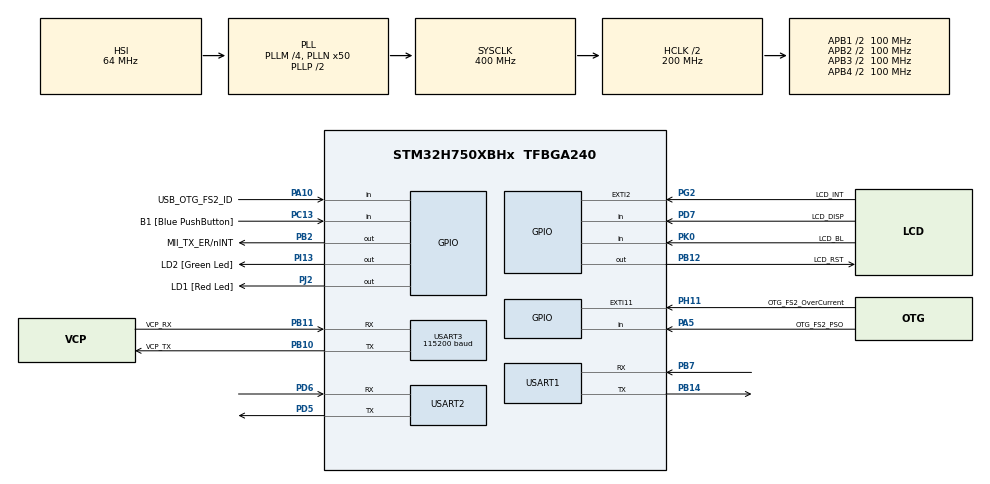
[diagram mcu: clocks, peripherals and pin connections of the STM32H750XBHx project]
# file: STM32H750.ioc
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FREERTOS.Tasks01=defaultTask,24,128,StartDefaultTask,Default,NULL,Dynamic,NULL,NULL
FREERTOS.configUSE_NEWLIB_REENTRANT=0
Mcu.Family=STM32H7
Mcu.Name=STM32H750XBHx
Mcu.Package=TFBGA240
NVIC.PriorityGroup=NVIC_PRIORITYGROUP_4
NVIC.TIM1_UP_IRQn=true\:15\:0\:false\:false\:true\:false\:false\:true\:true
NVIC.TIM2_IRQn=true\:5\:0\:false\:false\:true\:true\:true\:true\:true
NVIC.TimeBase=TIM1_UP_IRQn
NVIC.TimeBaseIP=TIM1
NVIC.USART2_IRQn=true\:5\:0\:false\:false\:true\:true\:true\:true\:true
NVIC.USART3_IRQn=true\:5\:0\:false\:false\:true\:true\:true\:true\:true
PA0_C.Signal=ADCx_INP0
PA1.GPIO_Label=MII_RX_CLK
PA1.Signal=ETH_RX_CLK
PA10.GPIO_Label=USB_OTG_FS2_ID
PA10.Signal=GPIO_Input
PA11.GPIO_Label=USB_OTG_FS2_N
PA11.Signal=USB_OTG_FS_DM
PA12.GPIO_Label=USB_OTG_FS2_P
PA12.Signal=USB_OTG_FS_DP
PA13\ (JTMS/SWDIO).Mode=JTAG_4_pins
PA13\ (JTMS/SWDIO).Signal=DEBUG_JTMS-SWDIO
PA14\ (JTCK/SWCLK).Mode=JTAG_4_pins
PA14\ (JTCK/SWCLK).Signal=DEBUG_JTCK-SWCLK
PA15\ (JTDI).Mode=JTAG_4_pins
PA15\ (JTDI).Signal=DEBUG_JTDI
PA1_C.Signal=ADCx_INP1
PA2.GPIO_Label=MII_MDIO
PA2.Signal=ETH_MDIO
PA5.GPIO_Label=OTG_FS2_PSO
PA5.Signal=GPIO_Input
PA6.Signal=S_TIM13_CH1
PA7.GPIO_Label=MII_RX_DV
PA7.Signal=ETH_RX_DV
PA8.Signal=S_TIM1_CH1
PA9.GPIO_Label=VBUS_FS2
PA9.Signal=USB_OTG_FS_VBUS
PB0.GPIO_Label=MII_RX_D2
PB0.Signal=ETH_RXD2
PB1.GPIO_Label=MII_RX_D3
PB1.Signal=ETH_RXD3
PB10.GPIO_Label=VCP_TX
PB10.Mode=Asynchronous
PB10.Signal=USART3_TX
PB11.GPIO_Label=VCP_RX
PB11.Mode=Asynchronous
PB11.Signal=USART3_RX
PB12.GPIO_Label=LCD_RST
PB12.Signal=GPIO_Output
PB13.GPIO_Label=FDCAN2_TX
PB13.Signal=FDCAN2_TX
PB14.Mode=Asynchronous
PB14.Signal=USART1_TX
PB15.Signal=SPI2_MOSI
PB2.GPIO_Label=MII_TX_ER/nINT
PB2.Signal=GPIO_Output
PB3\ (JTDO/TRACESWO).Mode=JTAG_4_pins
PB3\ (JTDO/TRACESWO).Signal=DEBUG_JTDO-SWO
PB4\ (NJTRST).Signal=SPI2_NSS
PB5.GPIO_Label=FDCAN2_RX
PB5.Signal=FDCAN2_RX
PB6.Signal=QUADSPI_BK1_NCS
PB7.Mode=Asynchronous
PB7.Signal=USART1_RX
PB8.GPIO_Label=SDIO1_D4
PB8.Signal=SDMMC1_D4
PB9.GPIO_Label=SDIO1_D5
PB9.Signal=SDMMC1_D5
PC0.Signal=ADCx_INP10
PC1.GPIO_Label=MII_MDC
PC1.Signal=ETH_MDC
PC10.GPIO_Label=SDIO1_D2
PC10.Signal=SDMMC1_D2
PC11.GPIO_Label=SDIO1_D3
PC11.Signal=SDMMC1_D3
PC12.GPIO_Label=SDIO1_CK
PC12.Signal=SDMMC1_CK
PC13.GPIO_Label=B1 [Blue PushButton]
PC13.Signal=GPIO_Input
PC14-OSC32_IN\ (OSC32_IN).GPIO_Label=OSC32_IN
PC14-OSC32_IN\ (OSC32_IN).Mode=LSE-External-Oscillator
PC14-OSC32_IN\ (OSC32_IN).Signal=RCC_OSC32_IN
PC15-OSC32_OUT\ (OSC32_OUT).GPIO_Label=OSC32_OUT
PC15-OSC32_OUT\ (OSC32_OUT).Mode=LSE-External-Oscillator
PC15-OSC32_OUT\ (OSC32_OUT).Signal=RCC_OSC32_OUT
PC2.GPIO_Label=MII_TXD2
PC2.Signal=ETH_TXD2
PC2_C.Signal=SharedAnalog_PC2
PC3.GPIO_Label=MII_TX_CLK
PC3.Signal=ETH_TX_CLK
PC3_C.Signal=ADC3_INP1
PC4.GPIO_Label=MII_RXD0
PC4.Signal=ETH_RXD0
PC5.GPIO_Label=MII_RXD1
PC5.Signal=ETH_RXD1
PC6.GPIO_Label=SDIO1_D6
PC6.Signal=SDMMC1_D6
PC7.GPIO_Label=SDIO1_D7
PC7.Signal=SDMMC1_D7
PC8.GPIO_Label=SDIO1_D0
PC8.Signal=SDMMC1_D0
PC9.GPIO_Label=SDIO1_D1
PC9.Signal=SDMMC1_D1
PD0.Signal=FMC_D2_DA2
PD1.Signal=FMC_D3_DA3
PD10.Signal=FMC_D15_DA15
PD11.Signal=QUADSPI_BK1_IO0
PD14.Signal=FMC_D0_DA0
PD15.Signal=FMC_D1_DA1
PD2.GPIO_Label=SDIO1_CMD
PD2.Signal=SDMMC1_CMD
PD3.Signal=SPI2_SCK
PD5.Mode=Asynchronous
PD5.Signal=USART2_TX
PD6.Mode=Asynchronous
PD6.Signal=USART2_RX
PD7.GPIO_Label=LCD_DISP
PD7.Signal=GPIO_Input
PD8.Signal=FMC_D13_DA13
PD9.Signal=FMC_D14_DA14
PE0.Signal=FMC_NBL0
PE1.Signal=FMC_NBL1
PE10.Signal=FMC_D7_DA7
PE11.Signal=FMC_D8_DA8
PE12.Signal=FMC_D9_DA9
PE13.Signal=FMC_D10_DA10
PE14.Signal=FMC_D11_DA11
PE15.Signal=FMC_D12_DA12
PE2.GPIO_Label=MII_TXD3
PE2.Signal=ETH_TXD3
PE4.Signal=SAI4_D2
PE5.Signal=SAI4_CK2
PE7.Signal=FMC_D4_DA4
PE8.Signal=FMC_D5_DA5
PE9.Signal=FMC_D6_DA6
PF0.Signal=FMC_A0
PF1.Signal=FMC_A1
PF10.Signal=QUADSPI_CLK
PF11.Signal=FMC_SDNRAS
PF12.Signal=FMC_A6
PF13.Signal=FMC_A7
PF14.Signal=FMC_A8
PF15.Signal=FMC_A9
PF2.Signal=FMC_A2
PF3.Signal=FMC_A3
PF4.Signal=FMC_A4
PF5.Signal=FMC_A5
PF6.Signal=QUADSPI_BK1_IO3
PF7.Signal=QUADSPI_BK1_IO2
PF8.Signal=ADC3_INP7
PF9.Signal=QUADSPI_BK1_IO1
PG0.Signal=FMC_A10
PG1.Signal=FMC_A11
PG10.Signal=SAI2_SD_B
PG11.GPIO_Label=MII_TX_EN
PG11.Signal=ETH_TX_EN
PG12.GPIO_Label=MII_TXD1
PG12.Signal=ETH_TXD1
PG13.GPIO_Label=MII_TXD0
PG13.Signal=ETH_TXD0
PG15.Signal=FMC_SDNCAS
PG2.GPIO_Label=LCD_INT
PG2.Signal=GPXTI2
PG4.Signal=FMC_A14_BA0
PG5.Signal=FMC_A15_BA1
PG7.GPIO_Label=audio_Int
PG7.Signal=SAI1_MCLK_A
PG8.Signal=FMC_SDCLK
PH0-OSC_IN\ (PH0).GPIO_Label=OSC_IN
PH0-OSC_IN\ (PH0).Signal=RCC_OSC_IN
PH1-OSC_OUT\ (PH1).GPIO_Label=OSC_OUT
PH1-OSC_OUT\ (PH1).Signal=RCC_OSC_OUT
PH11.GPIO_Label=OTG_FS2_OverCurrent
PH11.Signal=GPXTI11
PH13.GPIO_Label=FDCAN1_TX
PH13.Signal=FDCAN1_TX
PH14.GPIO_Label=FDCAN1_RX
PH14.Signal=FDCAN1_RX
PH15.Signal=TIM8_CH3N
PH2.GPIO_Label=MII_CRS
PH2.Signal=ETH_CRS
PH3.GPIO_Label=MII_COL
PH3.Signal=ETH_COL
PH5.Signal=FMC_SDNWE
PH6.Signal=FMC_SDNE1
PH7.Signal=FMC_SDCKE1
PH9.Signal=LTDC_R3
PI0.Signal=LTDC_G5
PI1.Signal=LTDC_G6
PI10.GPIO_Label=MII_RX_ER
PI10.Signal=ETH_RX_ER
PI12.Signal=LTDC_HSYNC
PI13.GPIO_Label=LD2 [Green Led]
PI13.Signal=GPIO_Output
PI14.Signal=LTDC_CLK
PI15.Signal=LTDC_R0
PI2.Signal=SPI2_MISO
PI4.Signal=SAI2_MCLK_A
PI5.Signal=SAI2_SCK_A
PI6.Signal=SAI2_SD_A
PI7.Signal=SAI2_FS_A
PI9.Signal=LTDC_VSYNC
PJ0.Signal=LTDC_R1
PJ1.Signal=LTDC_R2
PJ10.Signal=LTDC_G3
PJ11.Signal=LTDC_G4
PJ12.Signal=LTDC_B0
PJ13.Signal=LTDC_B1
PJ14.Signal=LTDC_B2
PJ15.GPIO_Label=LCD_DISP
PJ15.Signal=LTDC_B3
PJ2.GPIO_Label=LD1 [Red Led]
PJ2.Signal=GPIO_Output
PJ3.Signal=LTDC_R4
PJ4.Signal=LTDC_R5
PJ5.Signal=LTDC_R6
PJ6.Signal=LTDC_R7
PJ7.Signal=LTDC_G0
PJ8.Signal=LTDC_G1
PJ9.Signal=LTDC_G2
PK0.GPIO_Label=LCD_BL
PK0.Signal=GPIO_Input
PK2.Signal=LTDC_G7
PK3.Signal=LTDC_B4
PK4.Signal=LTDC_B5
PK5.Signal=LTDC_B6
PK6.Signal=LTDC_B7
PK7.Signal=LTDC_DE
ProjectManager.HeapSize=0x200
ProjectManager.StackSize=0x400
ProjectManager.TargetToolchain=CMake
RCC.ADCFreq_Value=76800000
RCC.APB1Freq_Value=100000000
RCC.APB2Freq_Value=100000000
RCC.APB3Freq_Value=100000000
RCC.APB4Freq_Value=100000000
RCC.CortexFreq_Value=400000000
RCC.D1PPRE=RCC_APB3_DIV2
RCC.D2PPRE1=RCC_APB1_DIV2
RCC.D2PPRE2=RCC_APB2_DIV2
RCC.D3PPRE=RCC_APB4_DIV2
RCC.DIVM1=4
RCC.DIVM2=2
RCC.DIVN1=50
RCC.DIVN2=12
RCC.DIVN3=192
RCC.DIVP2=5
RCC.DIVQ1=4
RCC.DIVR1=6
RCC.HCLKFreq_Value=200000000
RCC.HPRE=RCC_HCLK_DIV2
RCC.PLL2FRACN=0
RCC.PLL3FRACN=0
RCC.PLLFRACN=0
RCC.PWR_Regulator_Voltage_Scale=PWR_REGULATOR_VOLTAGE_SCALE0
RCC.RCC_TIM_PRescaler_Selection=RCC_TIMPRES_DESACTIVATED
RCC.SYSCLKFreq_VALUE=400000000
RCC.SYSCLKSource=RCC_SYSCLKSOURCE_PLLCLK
RCC.SupplySource=PWR_LDO_SUPPLY
RCC.USBFreq_Value=200000000
SH.ADCx_INP0.0=ADC1_INP0
SH.ADCx_INP0.1=ADC2_INP0
SH.ADCx_INP1.0=ADC1_INP1
SH.ADCx_INP1.1=ADC2_INP1
SH.ADCx_INP10.0=ADC1_INP10
SH.ADCx_INP10.1=ADC3_INP10
SH.FMC_A0.0=FMC_A0
SH.FMC_A1.0=FMC_A1
SH.FMC_A10.0=FMC_A10
SH.FMC_A11.0=FMC_A11
SH.FMC_A14_BA0.0=FMC_BA0
SH.FMC_A15_BA1.0=FMC_BA1
SH.FMC_A2.0=FMC_A2
SH.FMC_A3.0=FMC_A3
SH.FMC_A4.0=FMC_A4
SH.FMC_A5.0=FMC_A5
SH.FMC_A6.0=FMC_A6
SH.FMC_A7.0=FMC_A7
SH.FMC_A8.0=FMC_A8
SH.FMC_A9.0=FMC_A9
SH.FMC_D0_DA0.0=FMC_D0
SH.FMC_D10_DA10.0=FMC_D10
SH.FMC_D11_DA11.0=FMC_D11
SH.FMC_D12_DA12.0=FMC_D12
SH.FMC_D13_DA13.0=FMC_D13
SH.FMC_D14_DA14.0=FMC_D14
SH.FMC_D15_DA15.0=FMC_D15
SH.FMC_D1_DA1.0=FMC_D1
SH.FMC_D2_DA2.0=FMC_D2
SH.FMC_D3_DA3.0=FMC_D3
SH.FMC_D4_DA4.0=FMC_D4
SH.FMC_D5_DA5.0=FMC_D5
SH.FMC_D6_DA6.0=FMC_D6
SH.FMC_D7_DA7.0=FMC_D7
SH.FMC_D8_DA8.0=FMC_D8
SH.FMC_D9_DA9.0=FMC_D9
SH.FMC_NBL0.0=FMC_NBL0
SH.FMC_NBL1.0=FMC_NBL1
SH.FMC_SDCLK.0=FMC_SDCLK
SH.FMC_SDNCAS.0=FMC_SDNCAS
SH.FMC_SDNRAS.0=FMC_SDNRAS
SH.FMC_SDNWE.0=FMC_SDNWE
SH.S_TIM13_CH1.0=TIM13_CH1
SH.S_TIM1_CH1.0=TIM1_CH1
SH.SharedAnalog_PC2.0=ADC3_INP0
SH.SharedAnalog_PC2.1=ADC3_INN1
TIM2.Period=480-1
TIM3.Period=50000-1
TIM3.Prescaler=7
USART1.VirtualMode-Asynchronous=VM_ASYNC
USART2.VirtualMode-Asynchronous=VM_ASYNC
USART3.BaudRate=115200
USART3.VirtualMode-Asynchronous=VM_ASYNC
VP_FREERTOS_VS_CMSIS_V2.Mode=CMSIS_V2
VP_MEMORYMAP_VS_MEMORYMAP.Mode=CurAppReg
VP_SYS_VS_tim1.Mode=TIM1
VP_TIM2_VS_ClockSourceINT.Mode=Internal
VP_TIM3_VS_ClockSourceINT.Mode=Internal
board=STM32H750B-DK

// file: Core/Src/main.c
/* USER CODE BEGIN Header */
/**
 ******************************************************************************
 * @file           : main.c
 * @brief          : Main program body
 ******************************************************************************
 * @attention
 *
 * Copyright (c) 2025 STMicroelectronics.
 * All rights reserved.
 *
 * This software is licensed under terms that can be found in the LICENSE file
 * in the root directory of this software component.
 * If no LICENSE file comes with this software, it is provided AS-IS.
 *
 ******************************************************************************
 */
/* USER CODE END Header */
#include "main.h"
#include "cmsis_os.h"
/* USER CODE BEGIN Includes */
#include "RingBuffer.h"
/* USER CODE END Includes */

/* USER CODE BEGIN PTD */
/* 메모리 영역별 태스크를 위한 함수 프로토타입 */
void StartUartRXTask(void *argument);
void StartUartTXTask(void *argument);
void Start100msTask(void *argument);
void Start500msTask(void *argument);
void Start1000msTask(void *argument);
uint32_t transmit_need_tick(uint32_t tx_size);
void print_task_stats(void);
void print_runtime_stats(void);
/* USER CODE END PTD */

TIM_HandleTypeDef htim2;
TIM_HandleTypeDef htim3;

UART_HandleTypeDef huart1;
UART_HandleTypeDef huart2;
UART_HandleTypeDef huart3;

/* USER CODE BEGIN PFP */
uint64_t tim2_tick_count = 0;
uint64_t tim3_tick_count = 0;
/* USER CODE END PFP */

osThreadId_t uartRXTaskHandle;
const osThreadAttr_t uartRXTask_attributes = {
    .name = "uartRXTask",
    .stack_size = UART_RX_TASK_STACK_SIZE,
    .priority = (osPriority_t)osPriorityNormal,
};

osThreadId_t uartTXTaskHandle;
const osThreadAttr_t uartTXTask_attributes = {
    .name = "uartTXTask",
    .stack_size = UART_TX_TASK_STACK_SIZE,
    .priority = (osPriority_t)osPriorityNormal,
};

osThreadId_t task1msHandle;
const osThreadAttr_t task1ms_attributes = {
    .name = "task1ms",
    .stack_size = TASK_1MS_STACK_SIZE,
    .priority = (osPriority_t)osPriorityHigh,
};

osThreadId_t task100msHandle;
const osThreadAttr_t task100ms_attributes = {
    .name = "task100ms",
    .stack_size = TASK_100MS_STACK_SIZE,
    .priority = (osPriority_t)osPriorityHigh,
};

osThreadId_t task500msHandle;
const osThreadAttr_t task500ms_attributes = {
    .name = "task500ms",
    .stack_size = TASK_500MS_STACK_SIZE,
    .priority = (osPriority_t)osPriorityHigh,
};

osThreadId_t task1000msHandle;
const osThreadAttr_t task1000ms_attributes = {
    .name = "task1000ms",
    .stack_size = TASK_1000MS_STACK_SIZE,
    .priority = (osPriority_t)osPriorityHigh,
};

osMutexId_t UartTxMutexHandle;
const osMutexAttr_t UartTxMutexHandle_attributes = {
    .name = "UartTxMutex",
    .attr_bits = osMutexPrioInherit,
};

osEventFlagsId_t EventFlagsHandle;
const osEventFlagsAttr_t EventFlagsHandle_attributes = {
    .name = "TestFlags",
};

osSemaphoreId_t UartRxSemaphoreHandle;
const osSemaphoreAttr_t UartRxSemaphoreHandle_attributes = {
    .name = "UartRxSemaphore",
};

osEventFlagsId_t UartRxCompleteFlagsHandle;
const osEventFlagsAttr_t UartRxCompleteFlagsHandle_attributes = {
    .name = "UartRxCompleteFlags",
};

/* USER CODE BEGIN PV */

RING_BUFFER rx_ring_buffer;

uint8_t rx_data = 0;

__attribute__((section(".RAM"))) uint8_t ram_data[1024] = {0};
uint32_t rx_task_count = 0;
uint32_t tx_task_count = 0;
uint32_t rx_buffer_cut_count = 0;

uint8_t tx_buffer[1024];
uint16_t tx_buffer_index = 0;

char index_str[2048];

/* 디버그 메시지 출력을 위한 플래그 */
volatile uint8_t uart_busy = 0;
volatile uint8_t tx_ready = 0; // TX 태스크 준비 상태 플래그

/* 태스크 모니터링을 위한 변수 */
volatile uint32_t task_last_run_time[6] = {0}; // 각 태스크의 마지막 실행 시간
volatile uint8_t task_status[6] = {0};         // 각 태스크의 상태 (0: 정상, 1: 응답 없음)
#define TASK_IDX_UART_RX 0
#define TASK_IDX_UART_TX 1
#define TASK_IDX_100MS 2
#define TASK_IDX_500MS 3
#define TASK_IDX_1000MS 4
#define TASK_IDX_MONITOR 5

/* 문자열 출력을 위한 공통 함수 */
void print_uart(const char *str)
{
  HAL_UART_Transmit(&huart3, (uint8_t *)str, strlen(str), 500);
}

/* USER CODE END PV */

void SystemClock_Config(void);
static void MX_GPIO_Init(void);
static void MX_USART2_UART_Init(void);
static void MX_USART3_UART_Init(void);
static void MX_TIM2_Init(void);
static void MX_TIM3_Init(void);
static void MX_USART1_UART_Init(void);

void StartUartRXTask(void *argument);
void StartUartTXTask(void *argument);
void Start1msTask(void *argument);
void Start100msTask(void *argument);
void Start500msTask(void *argument);
void Start1000msTask(void *argument);
void StartTaskMonitor(void *argument);
uint32_t transmit_need_tick(uint32_t tx_size);

/* USER CODE BEGIN 0 */
int _write(int fd __attribute__((unused)), const char *ptr, int len)
{
  HAL_UART_Transmit(&huart3, (uint8_t *)ptr, len, 1000);
  return len;
}

void HAL_UART_RxCpltCallback(UART_HandleTypeDef *huart)
{
  if (huart->Instance == USART3)
  {
    /* 버퍼 오버플로우 방지 */
    if (Ring_buffer_full(&rx_ring_buffer) == 0)
    {
      if (rx_data != '\n' || rx_data != '\r')
      {
        Ring_buffer_put(&rx_ring_buffer, rx_data);
      }

      if (rx_data == '\n')
      {
        if (Ring_buffer_next(&rx_ring_buffer) == 0) // Ring_buffer_next의 반환값 확인
        {
          /* 수신 완료 플래그 설정 */
          osSemaphoreRelease(UartRxSemaphoreHandle);
        }
        else
        {
          // Ring buffer가 가득 찬 경우, 오버플로우 이벤트 설정
          osEventFlagsSet(EventFlagsHandle, EVENT_FLAG_UART_RX_BUFFER_OVERFLOW);
        }
      }
    }
    else
    {
      osEventFlagsSet(EventFlagsHandle, EVENT_FLAG_UART_RX_BUFFER_OVERFLOW);
    }

    /* 다음 문자 수신을 위한 인터럽트 설정 */
    HAL_UART_Receive_IT(&huart3, (uint8_t *)&rx_data, 1);
  }
}

void HAL_UART_TxCpltCallback(UART_HandleTypeDef *huart)
{
  if (huart->Instance == USART3)
  {
    uart_busy = 0;
  }
}

/**
 * @brief  FreeRTOS 런타임 통계를 위한 타이머 설정
 * @retval None
 */
void vConfigureTimerForRunTimeStats(void)
{
  /* TIM3는 이미 MX_TIM3_Init()에서 초기화되었으므로 여기서는 타이머를 시작만 합니다 */
  HAL_TIM_Base_Start(&htim3);
}

/**
 * @brief  FreeRTOS 런타임 통계를 위한 타이머 값 가져오기
 * @retval 타이머 카운터 값
 */
uint32_t vGetRunTimeCounterValue(void)
{
  return TIM3->CNT;
}

/* USER CODE END 0 */

int main(void)
{

  /* MCU Configuration--------------------------------------------------------*/

  /* Reset of all peripherals, Initializes the Flash interface and the Systick. */
  HAL_Init();

  /* USER CODE BEGIN Init */
  // 변수 초기화
  memset(tx_buffer, 0, sizeof(tx_buffer));
  tx_buffer_index = 0;
  rx_task_count = 0;
  tx_task_count = 0;
  tx_ready = 0;
  uart_busy = 0;
  Ring_buffer_init(&rx_ring_buffer);
  /* USER CODE END Init */

  /* Configure the system clock */
  SystemClock_Config();

  /* Initialize all configured peripherals */
  MX_GPIO_Init();
  MX_USART2_UART_Init();
  MX_USART3_UART_Init();
  MX_TIM2_Init();
  MX_TIM3_Init();
  MX_USART1_UART_Init();
  /* USER CODE BEGIN 2 */
  HAL_UART_Receive_IT(&huart3, (uint8_t *)&rx_data, 1);

  // 초기화 메시지 출력
  print_uart("\r\n\r\n=== STM32H750 RTOS TEST ===\r\n");
  print_uart("UART initialized at 921600 baud\r\n");

  /* USER CODE END 2 */

  /* Init scheduler */
  osKernelInitialize();
  /* USER CODE BEGIN RTOS_MUTEX */
  /* add mutexes, ... */
  UartTxMutexHandle = osMutexNew(&UartTxMutexHandle_attributes);
  // TaskMonitorMutexHandle = osMutexNew(&TaskMonitorMutexHandle_attributes);
  EventFlagsHandle = osEventFlagsNew(&EventFlagsHandle_attributes);
  UartRxSemaphoreHandle = osSemaphoreNew(512, 0, NULL); // 512개의 스레드가 동시에 접근할 수 있음

  /* USER CODE END RTOS_MUTEX */

  /* Create the thread(s) */

  uartRXTaskHandle = osThreadNew(StartUartRXTask, NULL, &uartRXTask_attributes);
  if (uartRXTaskHandle == NULL)
  {
    print_uart("ERROR: uartRXTask creation failed\r\n");
  }

  uartTXTaskHandle = osThreadNew(StartUartTXTask, NULL, &uartTXTask_attributes);
  if (uartTXTaskHandle == NULL)
  {
    print_uart("ERROR: uartTXTask creation failed\r\n");
  }

  task1msHandle = osThreadNew(Start1msTask, NULL, &task1ms_attributes);
  if (task1msHandle == NULL)
  {
    print_uart("ERROR: task1ms creation failed\r\n");
  }

  // task100msHandle = osThreadNew(Start100msTask, NULL, &task100ms_attributes);
  // if (task100msHandle == NULL)
  // {
  //   print_uart("ERROR: task100ms creation failed\r\n");
  // }

  // task500msHandle = osThreadNew(Start500msTask, NULL, &task500ms_attributes);
  // if (task500msHandle == NULL)
  // {
  //   print_uart("ERROR: task500ms creation failed\r\n");
  // }

  // task1000msHandle = osThreadNew(Start1000msTask, NULL, &task1000ms_attributes);
  // if (task1000msHandle == NULL)
  // {
  //   print_uart("ERROR: task1000ms creation failed\r\n");
  // }

  // taskMonitorHandle = osThreadNew(StartTaskMonitor, NULL, &taskMonitor_attributes);
  // if (taskMonitorHandle == NULL)
  // {
  //   print_uart("ERROR: taskMonitor creation failed\r\n");
  // }

  /* Start scheduler */
  osKernelStart();

  /* We should never get here as control is now taken by the scheduler */

  /* Infinite loop */
  while (1)
  {

  }
}

void SystemClock_Config(void)
{
  RCC_OscInitTypeDef RCC_OscInitStruct = {0};
  RCC_ClkInitTypeDef RCC_ClkInitStruct = {0};

  /** Supply configuration update enable
   */
  HAL_PWREx_ConfigSupply(PWR_LDO_SUPPLY);

  /** Configure the main internal regulator output voltage
   */
  __HAL_PWR_VOLTAGESCALING_CONFIG(PWR_REGULATOR_VOLTAGE_SCALE0);

  while (!__HAL_PWR_GET_FLAG(PWR_FLAG_VOSRDY))
  {
  }

  /** Initializes the RCC Oscillators according to the specified parameters
   * in the RCC_OscInitTypeDef structure.
   */
  RCC_OscInitStruct.OscillatorType = RCC_OSCILLATORTYPE_HSI;
  RCC_OscInitStruct.HSIState = RCC_HSI_DIV1;
  RCC_OscInitStruct.HSICalibrationValue = RCC_HSICALIBRATION_DEFAULT;
  RCC_OscInitStruct.PLL.PLLState = RCC_PLL_ON;
  RCC_OscInitStruct.PLL.PLLSource = RCC_PLLSOURCE_HSI;
  RCC_OscInitStruct.PLL.PLLM = 4;
  RCC_OscInitStruct.PLL.PLLN = 50;
  RCC_OscInitStruct.PLL.PLLP = 2;
  RCC_OscInitStruct.PLL.PLLQ = 4;
  RCC_OscInitStruct.PLL.PLLR = 6;
  RCC_OscInitStruct.PLL.PLLRGE = RCC_PLL1VCIRANGE_3;
  RCC_OscInitStruct.PLL.PLLVCOSEL = RCC_PLL1VCOWIDE;
  RCC_OscInitStruct.PLL.PLLFRACN = 0;
  if (HAL_RCC_OscConfig(&RCC_OscInitStruct) != HAL_OK)
  {
    Error_Handler();
  }

  /** Initializes the CPU, AHB and APB buses clocks
   */
  RCC_ClkInitStruct.ClockType = RCC_CLOCKTYPE_HCLK | RCC_CLOCKTYPE_SYSCLK | RCC_CLOCKTYPE_PCLK1 | RCC_CLOCKTYPE_PCLK2 | RCC_CLOCKTYPE_D3PCLK1 | RCC_CLOCKTYPE_D1PCLK1;
  RCC_ClkInitStruct.SYSCLKSource = RCC_SYSCLKSOURCE_PLLCLK;
  RCC_ClkInitStruct.SYSCLKDivider = RCC_SYSCLK_DIV1;
  RCC_ClkInitStruct.AHBCLKDivider = RCC_HCLK_DIV2;
  RCC_ClkInitStruct.APB3CLKDivider = RCC_APB3_DIV2;
  RCC_ClkInitStruct.APB1CLKDivider = RCC_APB1_DIV2;
  RCC_ClkInitStruct.APB2CLKDivider = RCC_APB2_DIV2;
  RCC_ClkInitStruct.APB4CLKDivider = RCC_APB4_DIV2;

  if (HAL_RCC_ClockConfig(&RCC_ClkInitStruct, FLASH_LATENCY_2) != HAL_OK)
  {
    Error_Handler();
  }
}

static void MX_TIM2_Init(void)
{

  TIM_ClockConfigTypeDef sClockSourceConfig = {0};
  TIM_MasterConfigTypeDef sMasterConfig = {0};

  htim2.Instance = TIM2;
  htim2.Init.Prescaler = 0;
  htim2.Init.CounterMode = TIM_COUNTERMODE_UP;
  htim2.Init.Period = 400 - 1;
  htim2.Init.ClockDivision = TIM_CLOCKDIVISION_DIV1;
  htim2.Init.AutoReloadPreload = TIM_AUTORELOAD_PRELOAD_DISABLE;
  if (HAL_TIM_Base_Init(&htim2) != HAL_OK)
  {
    Error_Handler();
  }
  sClockSourceConfig.ClockSource = TIM_CLOCKSOURCE_INTERNAL;
  if (HAL_TIM_ConfigClockSource(&htim2, &sClockSourceConfig) != HAL_OK)
  {
    Error_Handler();
  }
  sMasterConfig.MasterOutputTrigger = TIM_TRGO_RESET;
  sMasterConfig.MasterSlaveMode = TIM_MASTERSLAVEMODE_DISABLE;
  if (HAL_TIMEx_MasterConfigSynchronization(&htim2, &sMasterConfig) != HAL_OK)
  {
    Error_Handler();
  }
}

static void MX_TIM3_Init(void)
{

  TIM_ClockConfigTypeDef sClockSourceConfig = {0};
  TIM_MasterConfigTypeDef sMasterConfig = {0};

  htim3.Instance = TIM3;
  htim3.Init.Prescaler = 7;
  htim3.Init.CounterMode = TIM_COUNTERMODE_UP;
  htim3.Init.Period = 50000 - 1;
  htim3.Init.ClockDivision = TIM_CLOCKDIVISION_DIV1;
  htim3.Init.AutoReloadPreload = TIM_AUTORELOAD_PRELOAD_DISABLE;
  if (HAL_TIM_Base_Init(&htim3) != HAL_OK)
  {
    Error_Handler();
  }
  sClockSourceConfig.ClockSource = TIM_CLOCKSOURCE_INTERNAL;
  if (HAL_TIM_ConfigClockSource(&htim3, &sClockSourceConfig) != HAL_OK)
  {
    Error_Handler();
  }
  sMasterConfig.MasterOutputTrigger = TIM_TRGO_RESET;
  sMasterConfig.MasterSlaveMode = TIM_MASTERSLAVEMODE_DISABLE;
  if (HAL_TIMEx_MasterConfigSynchronization(&htim3, &sMasterConfig) != HAL_OK)
  {
    Error_Handler();
  }
}

static void MX_USART1_UART_Init(void)
{

  huart1.Instance = USART1;
  huart1.Init.BaudRate = 115200;
  huart1.Init.WordLength = UART_WORDLENGTH_8B;
  huart1.Init.StopBits = UART_STOPBITS_1;
  huart1.Init.Parity = UART_PARITY_NONE;
  huart1.Init.Mode = UART_MODE_TX_RX;
  huart1.Init.HwFlowCtl = UART_HWCONTROL_NONE;
  huart1.Init.OverSampling = UART_OVERSAMPLING_16;
  huart1.Init.OneBitSampling = UART_ONE_BIT_SAMPLE_DISABLE;
  huart1.Init.ClockPrescaler = UART_PRESCALER_DIV1;
  huart1.AdvancedInit.AdvFeatureInit = UART_ADVFEATURE_NO_INIT;
  if (HAL_UART_Init(&huart1) != HAL_OK)
  {
    Error_Handler();
  }
  if (HAL_UARTEx_SetTxFifoThreshold(&huart1, UART_TXFIFO_THRESHOLD_1_8) != HAL_OK)
  {
    Error_Handler();
  }
  if (HAL_UARTEx_SetRxFifoThreshold(&huart1, UART_RXFIFO_THRESHOLD_1_8) != HAL_OK)
  {
    Error_Handler();
  }
  if (HAL_UARTEx_DisableFifoMode(&huart1) != HAL_OK)
  {
    Error_Handler();
  }
}

static void MX_USART2_UART_Init(void)
{

  huart2.Instance = USART2;
  huart2.Init.BaudRate = 115200;
  huart2.Init.WordLength = UART_WORDLENGTH_8B;
  huart2.Init.StopBits = UART_STOPBITS_1;
  huart2.Init.Parity = UART_PARITY_NONE;
  huart2.Init.Mode = UART_MODE_TX_RX;
  huart2.Init.HwFlowCtl = UART_HWCONTROL_NONE;
  huart2.Init.OverSampling = UART_OVERSAMPLING_16;
  huart2.Init.OneBitSampling = UART_ONE_BIT_SAMPLE_DISABLE;
  huart2.Init.ClockPrescaler = UART_PRESCALER_DIV1;
  huart2.AdvancedInit.AdvFeatureInit = UART_ADVFEATURE_NO_INIT;
  if (HAL_UART_Init(&huart2) != HAL_OK)
  {
    Error_Handler();
  }
  if (HAL_UARTEx_SetTxFifoThreshold(&huart2, UART_TXFIFO_THRESHOLD_1_8) != HAL_OK)
  {
    Error_Handler();
  }
  if (HAL_UARTEx_SetRxFifoThreshold(&huart2, UART_RXFIFO_THRESHOLD_1_8) != HAL_OK)
  {
    Error_Handler();
  }
  if (HAL_UARTEx_DisableFifoMode(&huart2) != HAL_OK)
  {
    Error_Handler();
  }
}

static void MX_USART3_UART_Init(void)
{

  huart3.Instance = USART3;
  huart3.Init.BaudRate = 921600;
  huart3.Init.WordLength = UART_WORDLENGTH_8B;
  huart3.Init.StopBits = UART_STOPBITS_1;
  huart3.Init.Parity = UART_PARITY_NONE;
  huart3.Init.Mode = UART_MODE_TX_RX;
  huart3.Init.HwFlowCtl = UART_HWCONTROL_NONE;
  huart3.Init.OverSampling = UART_OVERSAMPLING_16;
  huart3.Init.OneBitSampling = UART_ONE_BIT_SAMPLE_DISABLE;
  huart3.Init.ClockPrescaler = UART_PRESCALER_DIV1;
  huart3.AdvancedInit.AdvFeatureInit = UART_ADVFEATURE_NO_INIT;
  if (HAL_UART_Init(&huart3) != HAL_OK)
  {
    Error_Handler();
  }
  if (HAL_UARTEx_SetTxFifoThreshold(&huart3, UART_TXFIFO_THRESHOLD_1_8) != HAL_OK)
  {
    Error_Handler();
  }
  if (HAL_UARTEx_SetRxFifoThreshold(&huart3, UART_RXFIFO_THRESHOLD_1_8) != HAL_OK)
  {
    Error_Handler();
  }
  if (HAL_UARTEx_DisableFifoMode(&huart3) != HAL_OK)
  {
    Error_Handler();
  }
}

static void MX_GPIO_Init(void)
{
  GPIO_InitTypeDef GPIO_InitStruct = {0};

  /* GPIO Ports Clock Enable */
  __HAL_RCC_GPIOI_CLK_ENABLE();
  __HAL_RCC_GPIOB_CLK_ENABLE();
  __HAL_RCC_GPIOK_CLK_ENABLE();
  __HAL_RCC_GPIOG_CLK_ENABLE();
  __HAL_RCC_GPIOD_CLK_ENABLE();
  __HAL_RCC_GPIOC_CLK_ENABLE();
  __HAL_RCC_GPIOA_CLK_ENABLE();
  __HAL_RCC_GPIOE_CLK_ENABLE();
  __HAL_RCC_GPIOJ_CLK_ENABLE();
  __HAL_RCC_GPIOH_CLK_ENABLE();
  __HAL_RCC_GPIOF_CLK_ENABLE();

  /*Configure GPIO pin Output Level */
  HAL_GPIO_WritePin(LD2_GPIO_Port, LD2_Pin, GPIO_PIN_RESET);

  /*Configure GPIO pin Output Level */
  HAL_GPIO_WritePin(GPIOB, MII_TX_ER_nINT_Pin | LCD_RST_Pin, GPIO_PIN_RESET);

  /*Configure GPIO pin Output Level */
  HAL_GPIO_WritePin(LD1_GPIO_Port, LD1_Pin, GPIO_PIN_RESET);

  /*Configure GPIO pins : PI6 PI5 PI4 PI7 */
  GPIO_InitStruct.Pin = GPIO_PIN_6 | GPIO_PIN_5 | GPIO_PIN_4 | GPIO_PIN_7;
  GPIO_InitStruct.Mode = GPIO_MODE_AF_PP;
  GPIO_InitStruct.Pull = GPIO_NOPULL;
  GPIO_InitStruct.Speed = GPIO_SPEED_FREQ_LOW;
  GPIO_InitStruct.Alternate = GPIO_AF10_SAI2;
  HAL_GPIO_Init(GPIOI, &GPIO_InitStruct);

  /*Configure GPIO pins : FDCAN2_RX_Pin FDCAN2_TX_Pin */
  GPIO_InitStruct.Pin = FDCAN2_RX_Pin | FDCAN2_TX_Pin;
  GPIO_InitStruct.Mode = GPIO_MODE_AF_PP;
  GPIO_InitStruct.Pull = GPIO_NOPULL;
  GPIO_InitStruct.Speed = GPIO_SPEED_FREQ_LOW;
  GPIO_InitStruct.Alternate = GPIO_AF9_FDCAN2;
  HAL_GPIO_Init(GPIOB, &GPIO_InitStruct);

  /*Configure GPIO pins : PK5 PK4 PK6 PK3
                           PK7 PK2 */
  GPIO_InitStruct.Pin = GPIO_PIN_5 | GPIO_PIN_4 | GPIO_PIN_6 | GPIO_PIN_3 | GPIO_PIN_7 | GPIO_PIN_2;
  GPIO_InitStruct.Mode = GPIO_MODE_AF_PP;
  GPIO_InitStruct.Pull = GPIO_NOPULL;
  GPIO_InitStruct.Speed = GPIO_SPEED_FREQ_LOW;
  GPIO_InitStruct.Alternate = GPIO_AF14_LTDC;
  HAL_GPIO_Init(GPIOK, &GPIO_InitStruct);

  /*Configure GPIO pin : PG10 */
  GPIO_InitStruct.Pin = GPIO_PIN_10;
  GPIO_InitStruct.Mode = GPIO_MODE_AF_PP;
  GPIO_InitStruct.Pull = GPIO_NOPULL;
  GPIO_InitStruct.Speed = GPIO_SPEED_FREQ_LOW;
  GPIO_InitStruct.Alternate = GPIO_AF10_SAI2;
  HAL_GPIO_Init(GPIOG, &GPIO_InitStruct);

  /*Configure GPIO pins : SDIO1_D2_Pin SDIO1_D3_Pin SDIO1_CK_Pin SDIO1_D0_Pin
                           SDIO1_D1_Pin SDIO1_D7_Pin SDIO1_D6_Pin */
  GPIO_InitStruct.Pin = SDIO1_D2_Pin | SDIO1_D3_Pin | SDIO1_CK_Pin | SDIO1_D0_Pin | SDIO1_D1_Pin | SDIO1_D7_Pin | SDIO1_D6_Pin;
  GPIO_InitStruct.Mode = GPIO_MODE_AF_PP;
  GPIO_InitStruct.Pull = GPIO_NOPULL;
  GPIO_InitStruct.Speed = GPIO_SPEED_FREQ_VERY_HIGH;
  GPIO_InitStruct.Alternate = GPIO_AF12_SDIO1;
  HAL_GPIO_Init(GPIOC, &GPIO_InitStruct);

  /*Configure GPIO pins : PI1 PI0 PI9 PI12
                           PI14 PI15 */
  GPIO_InitStruct.Pin = GPIO_PIN_1 | GPIO_PIN_0 | GPIO_PIN_9 | GPIO_PIN_12 | GPIO_PIN_14 | GPIO_PIN_15;
  GPIO_InitStruct.Mode = GPIO_MODE_AF_PP;
  GPIO_InitStruct.Pull = GPIO_NOPULL;
  GPIO_InitStruct.Speed = GPIO_SPEED_FREQ_LOW;
  GPIO_InitStruct.Alternate = GPIO_AF14_LTDC;
  HAL_GPIO_Init(GPIOI, &GPIO_InitStruct);

  /*Configure GPIO pins : PE1 PE0 PE10 PE9
                           PE11 PE12 PE15 PE8
                           PE13 PE7 PE14 */
  GPIO_InitStruct.Pin = GPIO_PIN_1 | GPIO_PIN_0 | GPIO_PIN_10 | GPIO_PIN_9 | GPIO_PIN_11 | GPIO_PIN_12 | GPIO_PIN_15 | GPIO_PIN_8 | GPIO_PIN_13 | GPIO_PIN_7 | GPIO_PIN_14;
  GPIO_InitStruct.Mode = GPIO_MODE_AF_PP;
  GPIO_InitStruct.Pull = GPIO_NOPULL;
  GPIO_InitStruct.Speed = GPIO_SPEED_FREQ_VERY_HIGH;
  GPIO_InitStruct.Alternate = GPIO_AF12_FMC;
  HAL_GPIO_Init(GPIOE, &GPIO_InitStruct);

  /*Configure GPIO pin : PB6 */
  GPIO_InitStruct.Pin = GPIO_PIN_6;
  GPIO_InitStruct.Mode = GPIO_MODE_AF_PP;
  GPIO_InitStruct.Pull = GPIO_NOPULL;
  GPIO_InitStruct.Speed = GPIO_SPEED_FREQ_LOW;
  GPIO_InitStruct.Alternate = GPIO_AF10_QUADSPI;
  HAL_GPIO_Init(GPIOB, &GPIO_InitStruct);

  /*Configure GPIO pin : PB4 */
  GPIO_InitStruct.Pin = GPIO_PIN_4;
  GPIO_InitStruct.Mode = GPIO_MODE_AF_PP;
  GPIO_InitStruct.Pull = GPIO_NOPULL;
  GPIO_InitStruct.Speed = GPIO_SPEED_FREQ_LOW;
  GPIO_InitStruct.Alternate = GPIO_AF7_SPI2;
  HAL_GPIO_Init(GPIOB, &GPIO_InitStruct);

  /*Configure GPIO pins : MII_TX_EN_Pin MII_TXD1_Pin MII_TXD0_Pin */
  GPIO_InitStruct.Pin = MII_TX_EN_Pin | MII_TXD1_Pin | MII_TXD0_Pin;
  GPIO_InitStruct.Mode = GPIO_MODE_AF_PP;
  GPIO_InitStruct.Pull = GPIO_NOPULL;
  GPIO_InitStruct.Speed = GPIO_SPEED_FREQ_LOW;
  GPIO_InitStruct.Alternate = GPIO_AF11_ETH;
  HAL_GPIO_Init(GPIOG, &GPIO_InitStruct);

  /*Configure GPIO pins : LCD_DISP_Pin PJ14 PJ12 PJ13
                           PJ11 PJ10 PJ9 PJ0
                           PJ8 PJ7 PJ6 PJ1
                           PJ5 PJ3 PJ4 */
  GPIO_InitStruct.Pin = LCD_DISP_Pin | GPIO_PIN_14 | GPIO_PIN_12 | GPIO_PIN_13 | GPIO_PIN_11 | GPIO_PIN_10 | GPIO_PIN_9 | GPIO_PIN_0 | GPIO_PIN_8 | GPIO_PIN_7 | GPIO_PIN_6 | GPIO_PIN_1 | GPIO_PIN_5 | GPIO_PIN_3 | GPIO_PIN_4;
  GPIO_InitStruct.Mode = GPIO_MODE_AF_PP;
  GPIO_InitStruct.Pull = GPIO_NOPULL;
  GPIO_InitStruct.Speed = GPIO_SPEED_FREQ_LOW;
  GPIO_InitStruct.Alternate = GPIO_AF14_LTDC;
  HAL_GPIO_Init(GPIOJ, &GPIO_InitStruct);

  /*Configure GPIO pin : PD3 */
  GPIO_InitStruct.Pin = GPIO_PIN_3;
  GPIO_InitStruct.Mode = GPIO_MODE_AF_PP;
  GPIO_InitStruct.Pull = GPIO_NOPULL;
  GPIO_InitStruct.Speed = GPIO_SPEED_FREQ_LOW;
  GPIO_InitStruct.Alternate = GPIO_AF5_SPI2;
  HAL_GPIO_Init(GPIOD, &GPIO_InitStruct);

  /*Configure GPIO pin : PI2 */
  GPIO_InitStruct.Pin = GPIO_PIN_2;
  GPIO_InitStruct.Mode = GPIO_MODE_AF_PP;
  GPIO_InitStruct.Pull = GPIO_NOPULL;
  GPIO_InitStruct.Speed = GPIO_SPEED_FREQ_LOW;
  GPIO_InitStruct.Alternate = GPIO_AF5_SPI2;
  HAL_GPIO_Init(GPIOI, &GPIO_InitStruct);

  /*Configure GPIO pin : PH15 */
  GPIO_InitStruct.Pin = GPIO_PIN_15;
  GPIO_InitStruct.Mode = GPIO_MODE_AF_PP;
  GPIO_InitStruct.Pull = GPIO_NOPULL;
  GPIO_InitStruct.Speed = GPIO_SPEED_FREQ_LOW;
  GPIO_InitStruct.Alternate = GPIO_AF3_TIM8;
  HAL_GPIO_Init(GPIOH, &GPIO_InitStruct);

  /*Configure GPIO pins : FDCAN1_RX_Pin FDCAN1_TX_Pin */
  GPIO_InitStruct.Pin = FDCAN1_RX_Pin | FDCAN1_TX_Pin;
  GPIO_InitStruct.Mode = GPIO_MODE_AF_PP;
  GPIO_InitStruct.Pull = GPIO_NOPULL;
  GPIO_InitStruct.Speed = GPIO_SPEED_FREQ_LOW;
  GPIO_InitStruct.Alternate = GPIO_AF9_FDCAN1;
  HAL_GPIO_Init(GPIOH, &GPIO_InitStruct);

  /*Configure GPIO pin : MII_TXD3_Pin */
  GPIO_InitStruct.Pin = MII_TXD3_Pin;
  GPIO_InitStruct.Mode = GPIO_MODE_AF_PP;
  GPIO_InitStruct.Pull = GPIO_NOPULL;
  GPIO_InitStruct.Speed = GPIO_SPEED_FREQ_LOW;
  GPIO_InitStruct.Alternate = GPIO_AF11_ETH;
  HAL_GPIO_Init(MII_TXD3_GPIO_Port, &GPIO_InitStruct);

  /*Configure GPIO pin : LCD_DISPD7_Pin */
  GPIO_InitStruct.Pin = LCD_DISPD7_Pin;
  GPIO_InitStruct.Mode = GPIO_MODE_INPUT;
  GPIO_InitStruct.Pull = GPIO_NOPULL;
  HAL_GPIO_Init(LCD_DISPD7_GPIO_Port, &GPIO_InitStruct);

  /*Configure GPIO pins : PE5 PE4 */
  GPIO_InitStruct.Pin = GPIO_PIN_5 | GPIO_PIN_4;
  GPIO_InitStruct.Mode = GPIO_MODE_AF_PP;
  GPIO_InitStruct.Pull = GPIO_NOPULL;
  GPIO_InitStruct.Speed = GPIO_SPEED_FREQ_LOW;
  GPIO_InitStruct.Alternate = GPIO_AF10_SAI4;
  HAL_GPIO_Init(GPIOE, &GPIO_InitStruct);

  /*Configure GPIO pins : SDIO1_D5_Pin SDIO1_D4_Pin */
  GPIO_InitStruct.Pin = SDIO1_D5_Pin | SDIO1_D4_Pin;
  GPIO_InitStruct.Mode = GPIO_MODE_AF_PP;
  GPIO_InitStruct.Pull = GPIO_NOPULL;
  GPIO_InitStruct.Speed = GPIO_SPEED_FREQ_VERY_HIGH;
  GPIO_InitStruct.Alternate = GPIO_AF12_SDIO1;
  HAL_GPIO_Init(GPIOB, &GPIO_InitStruct);

  /*Configure GPIO pins : PG15 PG8 PG5 PG4
                           PG0 PG1 */
  GPIO_InitStruct.Pin = GPIO_PIN_15 | GPIO_PIN_8 | GPIO_PIN_5 | GPIO_PIN_4 | GPIO_PIN_0 | GPIO_PIN_1;
  GPIO_InitStruct.Mode = GPIO_MODE_AF_PP;
  GPIO_InitStruct.Pull = GPIO_NOPULL;
  GPIO_InitStruct.Speed = GPIO_SPEED_FREQ_VERY_HIGH;
  GPIO_InitStruct.Alternate = GPIO_AF12_FMC;
  HAL_GPIO_Init(GPIOG, &GPIO_InitStruct);

  /*Configure GPIO pin : SDIO1_CMD_Pin */
  GPIO_InitStruct.Pin = SDIO1_CMD_Pin;
  GPIO_InitStruct.Mode = GPIO_MODE_AF_PP;
  GPIO_InitStruct.Pull = GPIO_NOPULL;
  GPIO_InitStruct.Speed = GPIO_SPEED_FREQ_VERY_HIGH;
  GPIO_InitStruct.Alternate = GPIO_AF12_SDIO1;
  HAL_GPIO_Init(SDIO1_CMD_GPIO_Port, &GPIO_InitStruct);

  /*Configure GPIO pins : PD0 PD1 PD15 PD14
                           PD10 PD9 PD8 */
  GPIO_InitStruct.Pin = GPIO_PIN_0 | GPIO_PIN_1 | GPIO_PIN_15 | GPIO_PIN_14 | GPIO_PIN_10 | GPIO_PIN_9 | GPIO_PIN_8;
  GPIO_InitStruct.Mode = GPIO_MODE_AF_PP;
  GPIO_InitStruct.Pull = GPIO_NOPULL;
  GPIO_InitStruct.Speed = GPIO_SPEED_FREQ_VERY_HIGH;
  GPIO_InitStruct.Alternate = GPIO_AF12_FMC;
  HAL_GPIO_Init(GPIOD, &GPIO_InitStruct);

  /*Configure GPIO pins : USB_OTG_FS2_ID_Pin OTG_FS2_PSO_Pin */
  GPIO_InitStruct.Pin = USB_OTG_FS2_ID_Pin | OTG_FS2_PSO_Pin;
  GPIO_InitStruct.Mode = GPIO_MODE_INPUT;
  GPIO_InitStruct.Pull = GPIO_NOPULL;
  HAL_GPIO_Init(GPIOA, &GPIO_InitStruct);

  /*Configure GPIO pin : B1_Pin */
  GPIO_InitStruct.Pin = B1_Pin;
  GPIO_InitStruct.Mode = GPIO_MODE_INPUT;
  GPIO_InitStruct.Pull = GPIO_NOPULL;
  HAL_GPIO_Init(B1_GPIO_Port, &GPIO_InitStruct);

  /*Configure GPIO pin : PA8 */
  GPIO_InitStruct.Pin = GPIO_PIN_8;
  GPIO_InitStruct.Mode = GPIO_MODE_AF_PP;
  GPIO_InitStruct.Pull = GPIO_NOPULL;
  GPIO_InitStruct.Speed = GPIO_SPEED_FREQ_LOW;
  GPIO_InitStruct.Alternate = GPIO_AF1_TIM1;
  HAL_GPIO_Init(GPIOA, &GPIO_InitStruct);

  /*Configure GPIO pins : USB_OTG_FS2_P_Pin USB_OTG_FS2_N_Pin */
  GPIO_InitStruct.Pin = USB_OTG_FS2_P_Pin | USB_OTG_FS2_N_Pin;
  GPIO_InitStruct.Mode = GPIO_MODE_AF_PP;
  GPIO_InitStruct.Pull = GPIO_NOPULL;
  GPIO_InitStruct.Speed = GPIO_SPEED_FREQ_LOW;
  GPIO_InitStruct.Alternate = GPIO_AF10_OTG1_FS;
  HAL_GPIO_Init(GPIOA, &GPIO_InitStruct);

  /*Configure GPIO pin : MII_RX_ER_Pin */
  GPIO_InitStruct.Pin = MII_RX_ER_Pin;
  GPIO_InitStruct.Mode = GPIO_MODE_AF_PP;
  GPIO_InitStruct.Pull = GPIO_NOPULL;
  GPIO_InitStruct.Speed = GPIO_SPEED_FREQ_LOW;
  GPIO_InitStruct.Alternate = GPIO_AF11_ETH;
  HAL_GPIO_Init(MII_RX_ER_GPIO_Port, &GPIO_InitStruct);

  /*Configure GPIO pin : audio_Int_Pin */
  GPIO_InitStruct.Pin = audio_Int_Pin;
  GPIO_InitStruct.Mode = GPIO_MODE_AF_PP;
  GPIO_InitStruct.Pull = GPIO_NOPULL;
  GPIO_InitStruct.Speed = GPIO_SPEED_FREQ_LOW;
  GPIO_InitStruct.Alternate = GPIO_AF6_SAI1;
  HAL_GPIO_Init(audio_Int_GPIO_Port, &GPIO_InitStruct);

  /*Configure GPIO pins : PF2 PF1 PF0 PF3
                           PF5 PF4 PF13 PF14
                           PF12 PF15 PF11 */
  GPIO_InitStruct.Pin = GPIO_PIN_2 | GPIO_PIN_1 | GPIO_PIN_0 | GPIO_PIN_3 | GPIO_PIN_5 | GPIO_PIN_4 | GPIO_PIN_13 | GPIO_PIN_14 | GPIO_PIN_12 | GPIO_PIN_15 | GPIO_PIN_11;
  GPIO_InitStruct.Mode = GPIO_MODE_AF_PP;
  GPIO_InitStruct.Pull = GPIO_NOPULL;
  GPIO_InitStruct.Speed = GPIO_SPEED_FREQ_VERY_HIGH;
  GPIO_InitStruct.Alternate = GPIO_AF12_FMC;
  HAL_GPIO_Init(GPIOF, &GPIO_InitStruct);

  /*Configure GPIO pin : LD2_Pin */
  GPIO_InitStruct.Pin = LD2_Pin;
  GPIO_InitStruct.Mode = GPIO_MODE_OUTPUT_PP;
  GPIO_InitStruct.Pull = GPIO_NOPULL;
  GPIO_InitStruct.Speed = GPIO_SPEED_FREQ_LOW;
  HAL_GPIO_Init(LD2_GPIO_Port, &GPIO_InitStruct);

  /*Configure GPIO pin : LCD_INT_Pin */
  GPIO_InitStruct.Pin = LCD_INT_Pin;
  GPIO_InitStruct.Mode = GPIO_MODE_IT_RISING;
  GPIO_InitStruct.Pull = GPIO_NOPULL;
  HAL_GPIO_Init(LCD_INT_GPIO_Port, &GPIO_InitStruct);

  /*Configure GPIO pin : LCD_BL_Pin */
  GPIO_InitStruct.Pin = LCD_BL_Pin;
  GPIO_InitStruct.Mode = GPIO_MODE_INPUT;
  GPIO_InitStruct.Pull = GPIO_NOPULL;
  HAL_GPIO_Init(LCD_BL_GPIO_Port, &GPIO_InitStruct);

  /*Configure GPIO pins : PF6 PF7 PF10 */
  GPIO_InitStruct.Pin = GPIO_PIN_6 | GPIO_PIN_7 | GPIO_PIN_10;
  GPIO_InitStruct.Mode = GPIO_MODE_AF_PP;
  GPIO_InitStruct.Pull = GPIO_NOPULL;
  GPIO_InitStruct.Speed = GPIO_SPEED_FREQ_LOW;
  GPIO_InitStruct.Alternate = GPIO_AF9_QUADSPI;
  HAL_GPIO_Init(GPIOF, &GPIO_InitStruct);

  /*Configure GPIO pin : PF8 */
  GPIO_InitStruct.Pin = GPIO_PIN_8;
  GPIO_InitStruct.Mode = GPIO_MODE_ANALOG;
  GPIO_InitStruct.Pull = GPIO_NOPULL;
  HAL_GPIO_Init(GPIOF, &GPIO_InitStruct);

  /*Configure GPIO pin : PC0 */
  GPIO_InitStruct.Pin = GPIO_PIN_0;
  GPIO_InitStruct.Mode = GPIO_MODE_ANALOG;
  GPIO_InitStruct.Pull = GPIO_NOPULL;
  HAL_GPIO_Init(GPIOC, &GPIO_InitStruct);

  /*Configure GPIO pin : PF9 */
  GPIO_InitStruct.Pin = GPIO_PIN_9;
  GPIO_InitStruct.Mode = GPIO_MODE_AF_PP;
  GPIO_InitStruct.Pull = GPIO_NOPULL;
  GPIO_InitStruct.Speed = GPIO_SPEED_FREQ_LOW;
  GPIO_InitStruct.Alternate = GPIO_AF10_QUADSPI;
  HAL_GPIO_Init(GPIOF, &GPIO_InitStruct);

  /*Configure GPIO pins : MII_MDC_Pin MII_TXD2_Pin MII_TX_CLK_Pin MII_RXD0_Pin
                           MII_RXD1_Pin */
  GPIO_InitStruct.Pin = MII_MDC_Pin | MII_TXD2_Pin | MII_TX_CLK_Pin | MII_RXD0_Pin | MII_RXD1_Pin;
  GPIO_InitStruct.Mode = GPIO_MODE_AF_PP;
  GPIO_InitStruct.Pull = GPIO_NOPULL;
  GPIO_InitStruct.Speed = GPIO_SPEED_FREQ_LOW;
  GPIO_InitStruct.Alternate = GPIO_AF11_ETH;
  HAL_GPIO_Init(GPIOC, &GPIO_InitStruct);

  /*Configure GPIO pins : MII_CRS_Pin MII_COL_Pin */
  GPIO_InitStruct.Pin = MII_CRS_Pin | MII_COL_Pin;
  GPIO_InitStruct.Mode = GPIO_MODE_AF_PP;
  GPIO_InitStruct.Pull = GPIO_NOPULL;
  GPIO_InitStruct.Speed = GPIO_SPEED_FREQ_LOW;
  GPIO_InitStruct.Alternate = GPIO_AF11_ETH;
  HAL_GPIO_Init(GPIOH, &GPIO_InitStruct);

  /*Configure GPIO pins : MII_MDIO_Pin MII_RX_CLK_Pin MII_RX_DV_Pin */
  GPIO_InitStruct.Pin = MII_MDIO_Pin | MII_RX_CLK_Pin | MII_RX_DV_Pin;
  GPIO_InitStruct.Mode = GPIO_MODE_AF_PP;
  GPIO_InitStruct.Pull = GPIO_NOPULL;
  GPIO_InitStruct.Speed = GPIO_SPEED_FREQ_LOW;
  GPIO_InitStruct.Alternate = GPIO_AF11_ETH;
  HAL_GPIO_Init(GPIOA, &GPIO_InitStruct);

  /*Configure GPIO pins : PH5 PH6 PH7 */
  GPIO_InitStruct.Pin = GPIO_PIN_5 | GPIO_PIN_6 | GPIO_PIN_7;
  GPIO_InitStruct.Mode = GPIO_MODE_AF_PP;
  GPIO_InitStruct.Pull = GPIO_NOPULL;
  GPIO_InitStruct.Speed = GPIO_SPEED_FREQ_VERY_HIGH;
  GPIO_InitStruct.Alternate = GPIO_AF12_FMC;
  HAL_GPIO_Init(GPIOH, &GPIO_InitStruct);

  /*Configure GPIO pin : OTG_FS2_OverCurrent_Pin */
  GPIO_InitStruct.Pin = OTG_FS2_OverCurrent_Pin;
  GPIO_InitStruct.Mode = GPIO_MODE_IT_RISING;
  GPIO_InitStruct.Pull = GPIO_NOPULL;
  HAL_GPIO_Init(OTG_FS2_OverCurrent_GPIO_Port, &GPIO_InitStruct);

  /*Configure GPIO pin : PA6 */
  GPIO_InitStruct.Pin = GPIO_PIN_6;
  GPIO_InitStruct.Mode = GPIO_MODE_AF_PP;
  GPIO_InitStruct.Pull = GPIO_NOPULL;
  GPIO_InitStruct.Speed = GPIO_SPEED_FREQ_LOW;
  GPIO_InitStruct.Alternate = GPIO_AF9_TIM13;
  HAL_GPIO_Init(GPIOA, &GPIO_InitStruct);

  /*Configure GPIO pins : MII_TX_ER_nINT_Pin LCD_RST_Pin */
  GPIO_InitStruct.Pin = MII_TX_ER_nINT_Pin | LCD_RST_Pin;
  GPIO_InitStruct.Mode = GPIO_MODE_OUTPUT_PP;
  GPIO_InitStruct.Pull = GPIO_NOPULL;
  GPIO_InitStruct.Speed = GPIO_SPEED_FREQ_LOW;
  HAL_GPIO_Init(GPIOB, &GPIO_InitStruct);

  /*Configure GPIO pin : PH9 */
  GPIO_InitStruct.Pin = GPIO_PIN_9;
  GPIO_InitStruct.Mode = GPIO_MODE_AF_PP;
  GPIO_InitStruct.Pull = GPIO_NOPULL;
  GPIO_InitStruct.Speed = GPIO_SPEED_FREQ_LOW;
  GPIO_InitStruct.Alternate = GPIO_AF14_LTDC;
  HAL_GPIO_Init(GPIOH, &GPIO_InitStruct);

  /*Configure GPIO pin : PD11 */
  GPIO_InitStruct.Pin = GPIO_PIN_11;
  GPIO_InitStruct.Mode = GPIO_MODE_AF_PP;
  GPIO_InitStruct.Pull = GPIO_NOPULL;
  GPIO_InitStruct.Speed = GPIO_SPEED_FREQ_LOW;
  GPIO_InitStruct.Alternate = GPIO_AF9_QUADSPI;
  HAL_GPIO_Init(GPIOD, &GPIO_InitStruct);

  /*Configure GPIO pins : MII_RX_D3_Pin MII_RX_D2_Pin */
  GPIO_InitStruct.Pin = MII_RX_D3_Pin | MII_RX_D2_Pin;
  GPIO_InitStruct.Mode = GPIO_MODE_AF_PP;
  GPIO_InitStruct.Pull = GPIO_NOPULL;
  GPIO_InitStruct.Speed = GPIO_SPEED_FREQ_LOW;
  GPIO_InitStruct.Alternate = GPIO_AF11_ETH;
  HAL_GPIO_Init(GPIOB, &GPIO_InitStruct);

  /*Configure GPIO pin : LD1_Pin */
  GPIO_InitStruct.Pin = LD1_Pin;
  GPIO_InitStruct.Mode = GPIO_MODE_OUTPUT_PP;
  GPIO_InitStruct.Pull = GPIO_NOPULL;
  GPIO_InitStruct.Speed = GPIO_SPEED_FREQ_LOW;
  HAL_GPIO_Init(LD1_GPIO_Port, &GPIO_InitStruct);

  /*Configure GPIO pin : PB15 */
  GPIO_InitStruct.Pin = GPIO_PIN_15;
  GPIO_InitStruct.Mode = GPIO_MODE_AF_PP;
  GPIO_InitStruct.Pull = GPIO_NOPULL;
  GPIO_InitStruct.Speed = GPIO_SPEED_FREQ_LOW;
  GPIO_InitStruct.Alternate = GPIO_AF5_SPI2;
  HAL_GPIO_Init(GPIOB, &GPIO_InitStruct);

  /*AnalogSwitch Config */
  HAL_SYSCFG_AnalogSwitchConfig(SYSCFG_SWITCH_PC2, SYSCFG_SWITCH_PC2_OPEN);

  /*AnalogSwitch Config */
  HAL_SYSCFG_AnalogSwitchConfig(SYSCFG_SWITCH_PC3, SYSCFG_SWITCH_PC3_OPEN);

  /*AnalogSwitch Config */
  HAL_SYSCFG_AnalogSwitchConfig(SYSCFG_SWITCH_PA0, SYSCFG_SWITCH_PA0_OPEN);

  /*AnalogSwitch Config */
  HAL_SYSCFG_AnalogSwitchConfig(SYSCFG_SWITCH_PA1, SYSCFG_SWITCH_PA1_OPEN);

}

/* USER CODE END 4 */
void Start1msTask(void *argument __attribute__((unused)))
{
  TickType_t lastWakeTime;
  lastWakeTime = xTaskGetTickCount();

  UNUSED(lastWakeTime);
  /* USER CODE BEGIN 5 */
  /* Infinite loop */
  for (;;)
  {
    // 버퍼 오버플로우 체크 및 처리
    if (osEventFlagsGet(EventFlagsHandle) & EVENT_FLAG_UART_RX_BUFFER_OVERFLOW)
    {
      osMutexAcquire(UartTxMutexHandle, osWaitForever);
      Ring_buffer_init(&rx_ring_buffer);
      osMutexRelease(UartTxMutexHandle);
      osEventFlagsClear(EventFlagsHandle, EVENT_FLAG_UART_RX_BUFFER_OVERFLOW);
      print_uart("\r\n!! Buffer Overflow Reset !!\r\n");
    }

    // 버퍼 정리 작업 (3개 이상의 패킷이 쌓였을 때)
    if ((rx_ring_buffer.tail_index > 10 || Ring_buffer_usage(&rx_ring_buffer) > (RING_BUFFER_SIZE * 0.2)))
    {
      osMutexAcquire(UartTxMutexHandle, osWaitForever);
      if (Ring_buffer_cut_packet(&rx_ring_buffer))
        rx_buffer_cut_count++;
      osMutexRelease(UartTxMutexHandle);
    }
    vTaskDelay(1 * portTICK_PERIOD_MS); // 1ms = 1 Tick (configTICK_RATE_HZ = 1000 기준)
  }
  /* USER CODE END 5 */
}

void Start100msTask(void *argument __attribute__((unused)))
{
  TickType_t lastWakeTime;
  lastWakeTime = xTaskGetTickCount();
  /* USER CODE BEGIN 5 */
  /* Infinite loop */
  for (;;)
  {
    vTaskDelayUntil(&lastWakeTime, 100 * portTICK_PERIOD_MS);
  }
  /* USER CODE END 5 */
}

void Start500msTask(void *argument __attribute__((unused)))
{
  TickType_t lastWakeTime;
  lastWakeTime = xTaskGetTickCount();
  /* USER CODE BEGIN 5 */
  /* Infinite loop */
  for (;;)
  {

    HAL_GPIO_TogglePin(LD2_GPIO_Port, LD2_Pin);

    // printf("Task 500ms :%lu \r\n", lastWakeTime);
    vTaskDelayUntil(&lastWakeTime, 500 * portTICK_PERIOD_MS);
  }
  /* USER CODE END 5 */
}

void Start1000msTask(void *argument __attribute__((unused)))
{
  TickType_t lastWakeTime;
  lastWakeTime = xTaskGetTickCount();

  /* USER CODE BEGIN 5 */
  /* Infinite loop */
  for (;;)
  {
    vTaskDelayUntil(&lastWakeTime, 1000 * portTICK_PERIOD_MS);
  }
  /* USER CODE END 5 */
}

void StartUartRXTask(void *argument __attribute__((unused)))
{
  /* USER CODE BEGIN 5 */
  /* 태스크 초기화 메시지 */
  print_uart("\r\nUART RX Task Started\r\n");

  /* Infinite loop */
  for (;;)
  {
    bool is_tx_flag = osEventFlagsGet(EventFlagsHandle) & EVENT_FLAG_UART_TX_DATA_READY;
    uint32_t count = osSemaphoreGetCount(UartRxSemaphoreHandle);
    if (count > 0 && !is_tx_flag)
    {
      uint16_t start, end;
      if (Ring_buffer_get_packet(&rx_ring_buffer, &start, &end) == 0)
      {
        osMutexAcquire(UartTxMutexHandle, osWaitForever);
        tx_buffer_index = end - start;
        if (tx_buffer_index > 0)
        {
          memcpy(tx_buffer, rx_ring_buffer.buf + start, tx_buffer_index);

          rx_task_count++;
          osEventFlagsSet(EventFlagsHandle, EVENT_FLAG_UART_TX_DATA_READY);
        }
        osMutexRelease(UartTxMutexHandle);
      }
      osSemaphoreAcquire(UartRxSemaphoreHandle, osWaitForever);
    }
    vTaskDelay(5); // 1ms = 100Tick
  }
  /* USER CODE END 5 */
}

void StartUartTXTask(void *argument __attribute__((unused)))
{
  /* USER CODE BEGIN 5 */
  /* 태스크 초기화 메시지 */
  print_uart("\r\nUART TX Task Started\r\n");

  /* Infinite loop */
  for (;;)
  {
    // 이벤트 플래그 대기
    uint32_t EventFlagsHandle_value = osEventFlagsGet(EventFlagsHandle);

    if ((EventFlagsHandle_value & EVENT_FLAG_UART_TX_DATA_READY) && tx_buffer_index > 0)
    {
      tx_task_count++;

      osMutexAcquire(UartTxMutexHandle, osWaitForever);
      sprintf(index_str, "[%ld:%ld-%ld]%.*s", rx_task_count, tx_task_count, rx_buffer_cut_count, tx_buffer_index, tx_buffer);
      /* tx_buffer의 내용을 tx_buffer_index 길이만큼 전송 */
      HAL_UART_Transmit(&huart3, (uint8_t *)index_str, strlen(index_str), 1000);

      osMutexRelease(UartTxMutexHandle);
      osEventFlagsClear(EventFlagsHandle, EVENT_FLAG_UART_TX_DATA_READY);
      tx_buffer_index = 0;
      vTaskDelay(transmit_need_tick(strlen(index_str)));
    }
    else if (EventFlagsHandle_value & EVENT_FLAG_UART_TX_DATA_READY)
    {
      // 플래그가 값이 있지만 버퍼가 비어있는 경우 리셋
      osEventFlagsClear(EventFlagsHandle, EVENT_FLAG_UART_TX_DATA_READY);
    }
    vTaskDelay(1);
  }
  /* USER CODE END 5 */
}

uint32_t transmit_need_tick(uint32_t tx_size)
{
  /**
   * 921600 baud rate, 8 bits per byte = 전송 속도 계산
   * tx_size * 8 bits per byte / 921600 bits per second * 1000 ms per second = tx_size * 8 * 1000 / 921600 ms
   *
   * tx_size * 8 * 1000 * 100
   * length * bit * 1s * rtos clock
   */
  uint32_t delay_time = (uint32_t)((((float)tx_size * 8 * 1000 * 100) / 921600));

  /* 최소 1tick, 최대 100tick 지연 시간 보장 */
  if (delay_time < 1)
  {
    delay_time = 1;
  }
  else if (delay_time > (100 * 100))
  {
    delay_time = 100 * 100;
  }

  /* ticks = ms (configTICK_RATE_HZ = 1000 기준) */
  return delay_time;
}

void Error_Handler(void)
{
  __disable_irq();
  while (1)
  {
  }
}
